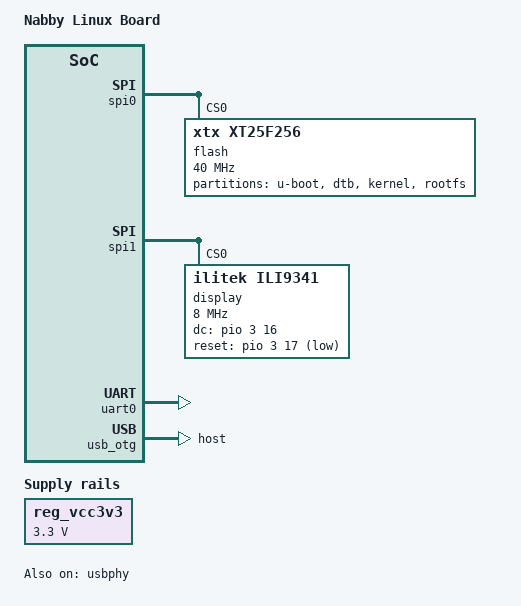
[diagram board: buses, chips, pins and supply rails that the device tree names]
// SPDX-License-Identifier: (GPL-2.0+ OR X11)

/*
 * Copyright 2018 Icenowy Zheng <icenowy@aosc.io>
 */

/dts-v1/;
#include "nabby-linux.dtsi"
#include <dt-bindings/gpio/gpio.h>

/ {
	model = "Nabby Linux Board"; 
	compatible = "allwinner,suniv-f1c100s";

	aliases {
		serial0 = &uart0;
	};

	chosen {
		stdout-path = "serial0:115200n8";
	};

	reg_vcc3v3: vcc3v3 {
		compatible = "regulator-fixed";
		regulator-name = "vcc3v3";
		regulator-min-microvolt = <3300000>;
		regulator-max-microvolt = <3300000>;
		regulator-always-on;
	};
};

/*
 * Pin Definitions
 */



/* Define pinctrl groups added by Raj* /
&pinctrl {
            my_input_pin_pe3: my-input-right {                 / *pio pin added Raj * /
                pins = "PE3"; / * RIGHT button * /
                function = "gpio";
                bias-pull-up;        / * optional * /
                input-enable;
            };

           my_input_pin_pe6: my-input-left {                 / *pio pin added Raj * /
                pins = "PE6"; / * LEFT button * /
                function = "gpio";
                bias-pull-up;        / * optional * /
                input-enable;
            };
}; */

/* Exposing the gpio-keys. added by Raj * /
gpio_keys: gpio-keys {
    compatible = "gpio-keys";

    di_right: di-right {
        label = "DI_RIGHT";
        linux,code = <1>;
        gpios = <&pio 4 3 GPIO_ACTIVE_LOW>; / * PE3 = bank 4, pin 3 * /
        pinctrl-names = "default";
        pinctrl-0 = <&my_input_pin_pe3>;
        debounce-interval = <10>;
    };

    di_left: di-left {
        label = "DI_LEFT";
        linux,code = <2>;
        gpios = <&pio 4 6 GPIO_ACTIVE_LOW>; / * PE6 = bank 4, pin 6 * /
        pinctrl-names = "default";
        pinctrl-0 = <&my_input_pin_pe6>;
        debounce-interval = <10>;
    };
}; */




/*
&be0 {
	status = "okay";
};

&de {
	status = "okay";
};
*/

&spi0 {
	pinctrl-names = "default";
	pinctrl-0 = <&spi0_pins_a>;
	status = "okay";

	flash@0 {
		#address-cells = <1>;
		#size-cells = <1>;
		compatible = "xtx,xt25f256", "jedec,spi-nor";
		reg = <0>;
		spi-max-frequency = <40000000>;

		partitions {
			compatible = "fixed-partitions";
			#address-cells = <1>;
			#size-cells = <1>;

			partition@0 {
				label = "u-boot";
				reg = <0x000000 0x100000>;
				read-only;
			};

			partition@1 {
				label = "dtb";
				reg = <0x100000 0x10000>;
				read-only;
			};

			partition@2 {
				label = "kernel";
				reg = <0x110000 0x4F0000>;
				read-only;
			};

			partition@3 {
				label = "rootfs";
				reg = <0x600000 0x1A00000>;
			};
		};
	};
};

&spi1 {
    status = "okay";
    pinctrl-names = "default";
    pinctrl-0 = <&spi1_pins>;

    display@0 {
        compatible = "ilitek,ili9341";
        reg = <0>;                       // CS0
        spi-max-frequency = <8000000>;
        spi-cpol;                           /* SPI mode 3 */ //added 9/4
        spi-cpha;                              //added 9/4
        dc-gpios = <&pio 3 16 GPIO_ACTIVE_HIGH>; // PD = 3
        reset-gpios = <&pio 3 17 GPIO_ACTIVE_LOW>;
      /*  backlight = <&backlight_pin>; */

        rotation = <270>;                // Optional
        buswidth = <8>;                  /* ADD THIS */
        rgb;                              // Use RGB pixel order if needed

        status = "okay";
        /* force full reinit on every use */
        always-update;
    };
};

&uart0 {
	pinctrl-names = "default";
	pinctrl-0 = <&uart0_pe_pins>;
	status = "okay";
};

&otg_sram {
	status = "okay";
};

&usb_otg {
	dr_mode = "host";
	status = "okay";
};

&usbphy {
	usb0_id_det = <&pio 4 2 GPIO_ACTIVE_HIGH>; /* PE3 */
	status = "okay";
};
